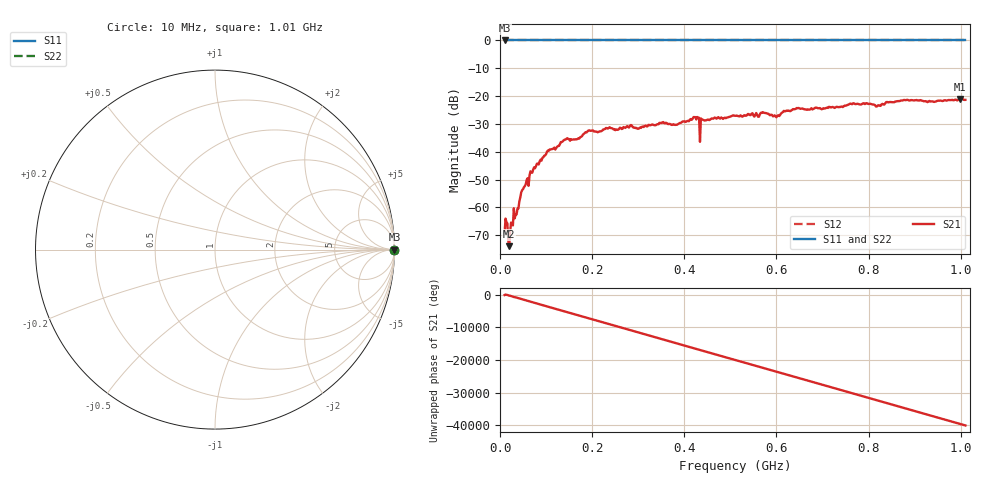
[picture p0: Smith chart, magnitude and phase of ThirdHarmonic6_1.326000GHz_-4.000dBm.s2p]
! 8/16/2025 2:46:44 PM
! C:\ANRITSUVNA\TEMP\TEMP.S2P
! CHANNEL.1
! TR.MEASUREMENT
! RAW.DATA
! RF.CORRECTION.OFF
! AVERAGING.OFF
! IF.BANDWIDTH: 5KHZ
! SWEEPTYPE:  FREQ.SWEEP(Linear)
! Reference Plane Port Info
! PORT:  PORT1  PORT2
! DISTANCE:  0  m  0  m
! TIME:  0  s  0  s
! PHASE.OFFSET:  0  deg.  0  deg.
! LOSS:  0  dB  0  dB
! REF.LOSS:  0  dB  0  dB
! REF.FREQ:  0  Hz  0  Hz
! Power Info
! POWER:  -20  dBm  -20  dBm
! EFF.POWER:  -20  dBm  -20  dBm
! SOURCE.ATTEN:  0  dB  0  dB
! TEST.ATTEN:  0  dB  0  dB
# GHZ S RI R 50.0
! FREQ.GHZ  S11RE  S11IM  S21RE  S21IM  S12RE  S12IM  S22RE  S22IM
!; PortSelection: Port_12
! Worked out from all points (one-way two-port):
!   501 points, 10 MHz to 1.01 GHz, reference 50 ohm
!   highest |S21| = -20.97 dB at 998 MHz (marker M1); lowest = -73.9 dB at 20 MHz (marker M2)
!   lowest |S11| = 0.0 dB at 10 MHz (marker M3)
!   |S11| at or under -10 dB: nowhere
!   |S22| runs from 0.0 to 0.0 dB; largest |S21 - S12| = 1.1
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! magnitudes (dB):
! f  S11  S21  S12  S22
! 10 MHz  0.0  -69.3  0.0  0.0
! 20 MHz  0.0  -73.9  0.0  0.0
! 28 MHz  0.0  -66.4  0.0  0.0
! 36 MHz  0.0  -62.5  0.0  0.0
! 48 MHz  0.0  -53.8  0.0  0.0
! 70 MHz  0.0  -47.5  0.0  0.0
! 106 MHz  0.0  -39.6  0.0  0.0
! 142 MHz  0.0  -35.6  0.0  0.0
! 178 MHz  0.0  -34.4  0.0  0.0
! 196 MHz  0.0  -32.4  0.0  0.0
! 344 MHz  0.0  -30.1  0.0  0.0
! 382 MHz  0.0  -30.3  0.0  0.0
! 424 MHz  0.0  -27.5  0.0  0.0
! 438 MHz  0.0  -28.4  0.0  0.0
! 440 MHz  0.0  -28.5  0.0  0.0
! 510 MHz  0.0  -27.0  0.0  0.0
! 602 MHz  0.0  -27.0  0.0  0.0
! 644 MHz  0.0  -24.3  0.0  0.0
! 678 MHz  0.0  -24.8  0.0  0.0
! 844 MHz  0.0  -22.2  0.0  0.0
! 998 MHz  0.0  -21.0  0.0  0.0
! 1.01 GHz  0.0  -21.3  0.0  0.0
